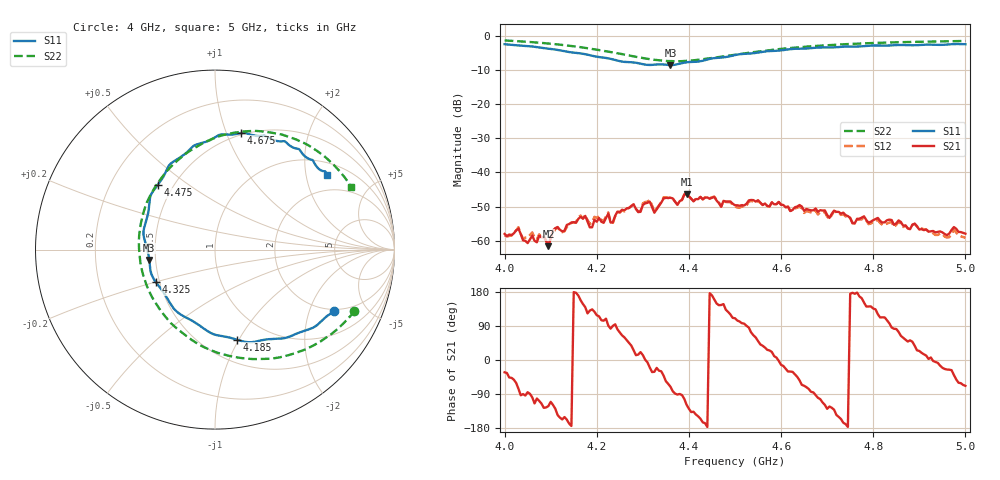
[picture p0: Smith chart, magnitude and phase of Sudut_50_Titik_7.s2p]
# Hz S RI R 50
! CMT, C1220, 16058040, 17.2.0/1
! Date: 15/08/2018 12:00:51
! Data: Format (Calibration Info)
! Freq  S11: Re/Im (F2)  S21: Re/Im (F2)  S12: Re/Im (F2)  S22: Re/Im (F2)
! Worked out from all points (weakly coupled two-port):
!   201 points, 4 GHz to 5 GHz, reference 50 ohm
!   highest |S21| = -46.34 dB at 4.395 GHz (marker M1); lowest = -61.6 dB at 4.095 GHz (marker M2)
!   lowest |S11| = -8.6 dB at 4.36 GHz (marker M3), VSWR 2.18, Z = 23.1 - j3.05 ohm
!   |S11| at or under -10 dB: nowhere
!   |S22| runs from -7.5 to -1.4 dB; largest |S21 - S12| = 0.00032
!   S11 on the Smith chart (normalised r, x): 4 GHz: 1.93, -2.99; 4.185 GHz: 0.72, -0.98; 4.325 GHz: 0.48, -0.20; 4.475 GHz: 0.41, +0.38; 4.675 GHz: 0.48, +1.12; 5 GHz: 1.41, +2.65
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4e9  0.6653 -0.3415  0.00106 -0.000678  0.00107 -0.000552  0.7768 -0.3426
4.03e9  0.6049 -0.3872  0.000371 -0.00147  0.000521 -0.00149  0.7192 -0.4075
4.05e9  0.5595 -0.4273  8.17e-05 -0.000923  0.000171 -0.00111  0.6736 -0.4502
4.095e9  0.4311 -0.4784  -0.000438 -0.000712  -0.000539 -0.000682  0.5523 -0.5324
4.11e9  0.3837 -0.4938  -0.000956 -0.0012  -0.000941 -0.00114  0.5028 -0.556
4.17e9  0.1716 -0.5147  -0.00178 0.00112  -0.00187 0.00101  0.2772 -0.6087
4.185e9  0.123 -0.5024  -0.00102 0.0012  -0.00125 0.00123  0.2142 -0.61
4.225e9  -0.0248 -0.4638  -3.72e-05 0.00249  0.000124 0.0026  0.0403 -0.5824
4.235e9  -0.0541 -0.4456  -3.24e-06 0.00188  0.000142 0.00183  -0.00306 -0.5683
4.28e9  -0.2168 -0.3417  0.00308 0.00148  0.00307 0.00149  -0.1908 -0.4571
4.315e9  -0.3017 -0.218  0.00352 -0.00126  0.00375 -0.00135  -0.3101 -0.3291
4.325e9  -0.3292 -0.182  0.00221 -0.00133  0.00226 -0.00141  -0.3373 -0.2872
4.335e9  -0.3486 -0.1495  0.00286 -0.00152  0.00289 -0.00158  -0.3625 -0.2411
4.36e9  -0.3664 -0.0571  0.00141 -0.00403  0.00131 -0.0041  -0.4063 -0.1185
4.395e9  -0.3983 0.0849  -0.00229 -0.00424  -0.00233 -0.00418  -0.4238 0.0544
4.475e9  -0.3203 0.3584  -0.00324 0.00206  -0.00312 0.0022  -0.3026 0.3935
4.5e9  -0.269 0.4444  -0.00114 0.00311  -0.000965 0.00302  -0.2385 0.4689
4.67e9  0.1325 0.6469  0.000221 -0.00279  0.000139 -0.00254  0.2398 0.6604
4.675e9  0.1425 0.6495  -0.000127 -0.00297  -5.87e-05 -0.00277  0.2525 0.6597
4.755e9  0.2988 0.623  -0.0018 8.33e-05  -0.00184 0.000127  0.4337 0.6208
4.835e9  0.4376 0.5676  -0.000239 0.00203  -0.000277 0.00183  0.575 0.5453
5e9  0.6239 0.413  0.000471 -0.00118  0.00048 -0.001  0.7595 0.3473
